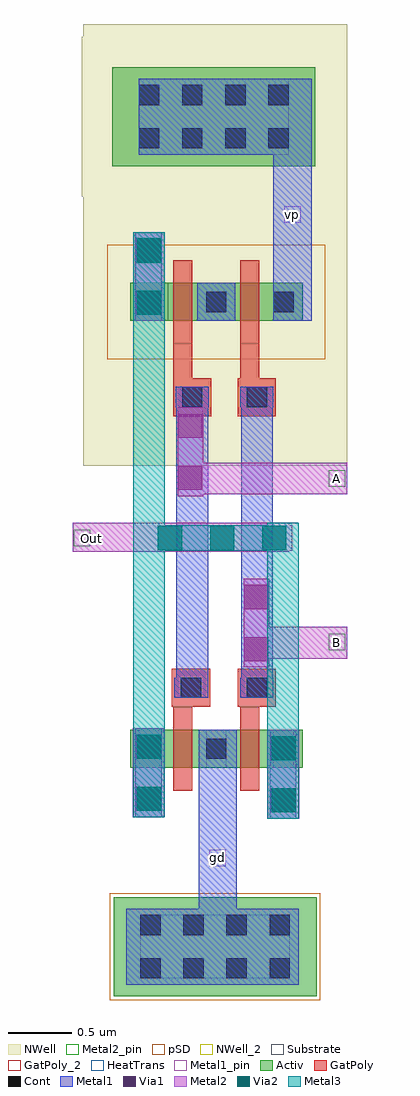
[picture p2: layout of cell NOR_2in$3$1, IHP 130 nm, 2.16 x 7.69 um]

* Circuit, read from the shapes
.subckt NOR_2in$3$1 A B Out gd vp
XM1 gd A Out gd sg13_lv_nmos w=0.3u l=0.15u
XM2 Out B gd gd sg13_lv_nmos w=0.3u l=0.15u
XM3 n1 A Out vp sg13_lv_pmos w=0.3u l=0.15u
XM4 vp B n1 vp sg13_lv_pmos w=0.3u l=0.15u
.ends

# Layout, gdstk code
from math import pi, radians
import gdstk
lib = gdstk.Library(unit=1e-6, precision=1e-09)
def R(c, l, rs):  # rectangles x0, y0, x1, y1
    for r in rs: c.add(gdstk.rectangle(r[:2], r[2:], *l))
def A(c, l, x, y, w, h, nx, ny, dx, dy):  # array of equal rectangles
    R(c, l, [(x+i*dx, y+j*dy, x+i*dx+w, y+j*dy+h) for i in range(nx) for j in range(ny)])
Activ = (1, 0)
GatPoly = (5, 0)
GatPoly_2 = (5, 2)
Cont = (6, 0)
Metal1 = (8, 0)
Metal1_pin = (8, 2)
Metal2 = (10, 0)
Metal2_pin = (10, 2)
pSD = (14, 0)
Via1 = (19, 0)
Via2 = (29, 0)
Metal3 = (30, 0)
NWell = (31, 0)
NWell_2 = (31, 2)
Substrate = (40, 0)
HeatTrans = (51, 0)

pmos_13_1 = lib.new_cell('pmos$13$1')
R(pmos_13_1, Activ, [(0,0,0.3,0.3), (0,0,0.83,0.3), (0.53,0,0.83,0.3)])
R(pmos_13_1, GatPoly, [(0.34,-0.18,0.49,0.48), (0.34,-0.18,0.49,0.48)])
R(pmos_13_1, Cont, [(0.07,0.07,0.23,0.23), (0.6,0.07,0.76,0.23)])
R(pmos_13_1, Metal1, [(0.07,0,0.23,0.3), (0.07,0,0.23,0.3), (0.6,0,0.76,0.3), (0.6,0,0.76,0.3)])
R(pmos_13_1, pSD, [(-0.18,-0.3,1.01,0.6)])
R(pmos_13_1, NWell, [(-0.31,-0.31,1.14,0.61)])
R(pmos_13_1, Substrate, [(0.53,0,0.83,0.3)])
R(pmos_13_1, HeatTrans, [(0.34,-0.18,0.49,0.48)])
pmos_13_1.add(gdstk.Label('pmos', (0.415,0.15), layer=63, texttype=0))
pmos_13_1.add(gdstk.Label('pmos', (0.415,0.15), layer=51, texttype=0))

via_5_8_1 = lib.new_cell('Via$5$8$1')
R(via_5_8_1, GatPoly, [(-0.15,-0.15,0.15,0.15)])
R(via_5_8_1, Cont, [(-0.08,-0.08,0.08,0.08)])
R(via_5_8_1, Metal1, [(-0.13,-0.08,0.13,0.08)])

via_6_18_1 = lib.new_cell('Via$6$18$1')
R(via_6_18_1, Metal1, [(-0.105,-0.35,0.105,0.35)])
R(via_6_18_1, Metal2, [(-0.1,-0.35,0.1,0.35)])
R(via_6_18_1, Via1, [(-0.095,-0.3,0.095,-0.11), (-0.095,0.11,0.095,0.3)])

ptap1_13_1 = lib.new_cell('ptap1$13$1')
R(ptap1_13_1, Activ, [(0,0,1.6,0.78)])
A(ptap1_13_1, Cont, 0.21, 0.14, 0.16, 0.16, 4, 2, 0.34, 0.34)
R(ptap1_13_1, Metal1, [(0.21,0.09,1.39,0.69), (0.21,0.14,1.39,0.64)])
R(ptap1_13_1, Metal1_pin, [(0.21,0.14,1.39,0.64)])
R(ptap1_13_1, pSD, [(-0.03,-0.03,1.63,0.81)])
R(ptap1_13_1, Substrate, [(0,0,1.6,0.78)])
ptap1_13_1.add(gdstk.Label('sub!', (0.8,0.01), layer=63, texttype=0))
ptap1_13_1.add(gdstk.Label('sub!', (0.8,0.01), layer=40, texttype=0))

nmos_23_1 = lib.new_cell('nmos$23$1')
R(nmos_23_1, Activ, [(0,0,0.3,0.3), (0,0,0.83,0.3), (0.53,0,0.83,0.3)])
R(nmos_23_1, GatPoly, [(0.34,-0.18,0.49,0.48)])
R(nmos_23_1, GatPoly_2, [(0.34,-0.18,0.49,0.48)])
R(nmos_23_1, Cont, [(0.07,0.07,0.23,0.23), (0.6,0.07,0.76,0.23)])
R(nmos_23_1, Metal1, [(0.07,0,0.23,0.3), (0.6,0,0.76,0.3)])
R(nmos_23_1, Metal1_pin, [(0.07,0,0.23,0.3), (0.6,0,0.76,0.3)])
R(nmos_23_1, HeatTrans, [(0.34,-0.18,0.49,0.48)])
nmos_23_1.add(gdstk.Label('nmos', (0.415,0.15), layer=63, texttype=0))
nmos_23_1.add(gdstk.Label('nmos', (0.415,0.15), layer=51, texttype=0))

via_39_4 = lib.new_cell('Via$39$4')
R(via_39_4, Metal2, [(-0.1,-0.35,0.1,0.35)])
R(via_39_4, Via2, [(-0.095,-0.3,0.095,-0.11), (-0.095,0.11,0.095,0.3)])
R(via_39_4, Metal3, [(-0.1,-0.35,0.1,0.35)])

via_7_18_1 = lib.new_cell('Via$7$18$1')
R(via_7_18_1, Metal2, [(-0.555,-0.1,0.555,0.1)])
A(via_7_18_1, Via2, -0.505, -0.095, 0.19, 0.19, 3, 1, 0.41, 0)
R(via_7_18_1, Metal3, [(-0.555,-0.1,0.555,0.1)])

ntap1_43_1 = lib.new_cell('ntap1$43$1')
R(ntap1_43_1, Activ, [(0,0,1.6,0.78)])
A(ntap1_43_1, Cont, 0.21, 0.14, 0.16, 0.16, 4, 2, 0.34, 0.34)
R(ntap1_43_1, Metal1, [(0.21,0.09,1.39,0.69)])
R(ntap1_43_1, Metal1_pin, [(0.21,0.09,1.39,0.69), (0.21,0.14,1.39,0.64)])
R(ntap1_43_1, NWell, [(-0.24,-0.24,1.84,1.02), (0,0,1.6,0.78)])
R(ntap1_43_1, NWell_2, [(0,0,1.6,0.78)])
ntap1_43_1.add(gdstk.Label('well', (0.8,0.01), layer=63, texttype=0))
ntap1_43_1.add(gdstk.Label('well', (0.8,0.01), layer=31, texttype=0))

nor_2in_3_1 = lib.new_cell('NOR_2in$3$1')
R(nor_2in_3_1, GatPoly, [(4.19,0.13,4.34,0.41), (4.72,0.14,4.87,0.41)])
R(nor_2in_3_1, Metal1, [(3.82,-4.64,5.18,-4.04), (4.38,0.59,4.68,0.89)])
R(nor_2in_3_1, Metal1_pin, [(4.475,-3.705,4.605,-3.575), (5.065,1.365,5.195,1.495)])
R(nor_2in_3_1, Metal2, [(3.4,-1.23,5.105,-1)])
R(nor_2in_3_1, Metal2_pin, [(5.415,-2.005,5.545,-1.875), (3.405,-1.185,3.535,-1.055), (5.415,-0.715,5.545,-0.585)])
R(nor_2in_3_1, NWell, [(3.48,-0.55,5.56,2.93)])
nor_2in_3_1.add(gdstk.FlexPath([(5.13,0.59),(5.13,2.5)], 0.3, ends="flush", simple_path=True, layer=8, datatype=0))  # Metal1
nor_2in_3_1.add(gdstk.FlexPath([(4.85,0.07),(4.85,-2.38)], 0.25, ends="flush", simple_path=True, layer=8, datatype=0))  # Metal1
nor_2in_3_1.add(gdstk.FlexPath([(4.34,0.07),(4.34,-2.38)], 0.25, ends="flush", simple_path=True, layer=8, datatype=0))  # Metal1
nor_2in_3_1.add(gdstk.FlexPath([(4.54,-2.63),(4.54,-4.04)], 0.3, ends="flush", simple_path=True, layer=8, datatype=0))  # Metal1
nor_2in_3_1.add(gdstk.FlexPath([(3.995,-2.62),(3.995,-3.32)], 0.25, ends="flush", simple_path=True, layer=10, datatype=0))  # Metal2
nor_2in_3_1.add(gdstk.FlexPath([(5.06,-2.63),(5.06,-3.33)], 0.25, ends="flush", simple_path=True, layer=10, datatype=0))  # Metal2
nor_2in_3_1.add(gdstk.FlexPath([(4,1.29),(4,0.59)], 0.25, ends="flush", simple_path=True, layer=10, datatype=0))  # Metal2
nor_2in_3_1.add(gdstk.FlexPath([(4.23,-0.65),(5.56,-0.65)], 0.25, ends="flush", simple_path=True, layer=10, datatype=0))  # Metal2
nor_2in_3_1.add(gdstk.FlexPath([(4.745,-1.945),(5.56,-1.945)], 0.25, ends="flush", simple_path=True, layer=10, datatype=0))  # Metal2
nor_2in_3_1.add(gdstk.FlexPath([(4,-3.32),(4,1.29)], 0.25, ends="flush", simple_path=True, layer=30, datatype=0))  # Metal3
nor_2in_3_1.add(gdstk.FlexPath([(5.055,-3.33),(5.055,-1)], 0.25, ends="flush", simple_path=True, layer=30, datatype=0))  # Metal3
nor_2in_3_1.add(gdstk.Reference(pmos_13_1, (5.21,0.59), rotation=pi, x_reflection=True))
nor_2in_3_1.add(gdstk.Reference(pmos_13_1, (4.68,0.59), rotation=pi, x_reflection=True))
nor_2in_3_1.add(gdstk.Reference(via_5_8_1, (4.85,-0.01), rotation=pi, x_reflection=True))
nor_2in_3_1.add(gdstk.Reference(via_5_8_1, (4.34,-0.01), rotation=pi, x_reflection=True))
nor_2in_3_1.add(gdstk.Reference(via_5_8_1, (4.85,-2.3), rotation=pi, x_reflection=True))
nor_2in_3_1.add(gdstk.Reference(via_5_8_1, (4.33,-2.3), rotation=pi, x_reflection=True))
nor_2in_3_1.add(gdstk.Reference(via_6_18_1, (4.845,-1.79), rotation=pi, x_reflection=True))
nor_2in_3_1.add(gdstk.Reference(via_6_18_1, (4.325,-0.44), rotation=pi, x_reflection=True))
nor_2in_3_1.add(gdstk.Reference(ptap1_13_1, (5.32,-4.73), rotation=pi, x_reflection=True))
nor_2in_3_1.add(gdstk.Reference(nmos_23_1, (5.21,-2.93), rotation=pi, x_reflection=True))
nor_2in_3_1.add(gdstk.Reference(nmos_23_1, (4.68,-2.93), rotation=pi, x_reflection=True))
nor_2in_3_1.add(gdstk.Reference(via_39_4, (4,0.94), rotation=pi, x_reflection=True))
nor_2in_3_1.add(gdstk.Reference(via_6_18_1, (3.995,0.94), rotation=pi, x_reflection=True))
nor_2in_3_1.add(gdstk.Reference(via_39_4, (4,-2.97), rotation=pi, x_reflection=True))
nor_2in_3_1.add(gdstk.Reference(via_6_18_1, (3.995,-2.97), rotation=pi, x_reflection=True))
nor_2in_3_1.add(gdstk.Reference(via_39_4, (5.06,-2.98), rotation=pi, x_reflection=True))
nor_2in_3_1.add(gdstk.Reference(via_6_18_1, (5.055,-2.98), rotation=pi, x_reflection=True))
nor_2in_3_1.add(gdstk.Reference(via_7_18_1, (4.575,-1.12), rotation=pi, x_reflection=True))
nor_2in_3_1.add(gdstk.Reference(ntap1_43_1, (3.71,1.81)))
nor_2in_3_1.add(gdstk.Label('gd', (4.54,-3.64), layer=8, texttype=25))
nor_2in_3_1.add(gdstk.Label('vp', (5.13,1.43), layer=8, texttype=25))
nor_2in_3_1.add(gdstk.Label('Out', (3.55,-1.12), layer=10, texttype=25))
nor_2in_3_1.add(gdstk.Label('A', (5.48,-0.65), layer=10, texttype=25))
nor_2in_3_1.add(gdstk.Label('B', (5.48,-1.94), layer=10, texttype=25))

lib.write_gds('NOR_2in_3_1.gds')
